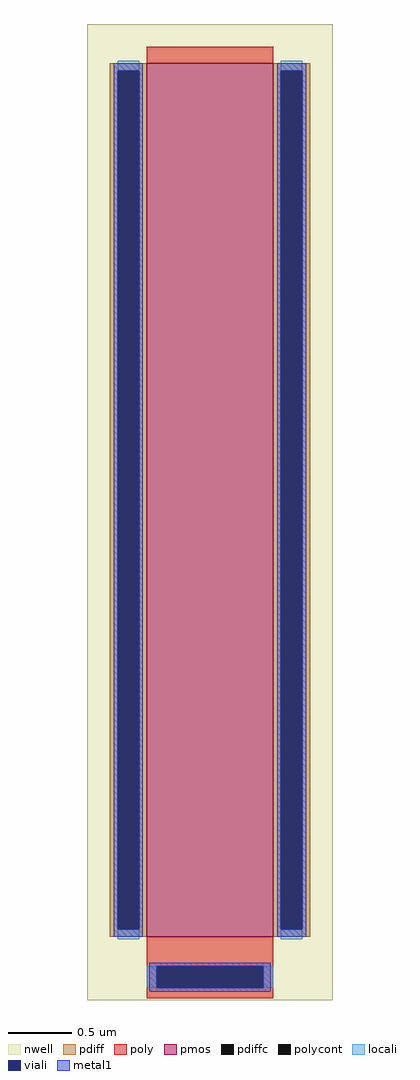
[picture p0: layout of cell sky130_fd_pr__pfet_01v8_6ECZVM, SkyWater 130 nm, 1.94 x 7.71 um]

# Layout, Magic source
magic
tech sky130A
magscale 1 2
<< nwell >>
rect -194 -754 194 788
<< pmos >>
rect -100 -654 100 726
<< pdiff >>
rect -158 714 -100 726
rect -158 -642 -146 714
rect -112 -642 -100 714
rect -158 -654 -100 -642
rect 100 714 158 726
rect 100 -642 112 714
rect 146 -642 158 714
rect 100 -654 158 -642
<< pdiffc >>
rect -146 -642 -112 714
rect 112 -642 146 714
<< poly >>
rect -100 726 100 752
rect -100 -701 100 -654
rect -100 -735 -84 -701
rect 84 -735 100 -701
rect -100 -751 100 -735
<< polycont >>
rect -84 -735 84 -701
<< locali >>
rect -146 714 -112 730
rect -146 -658 -112 -642
rect 112 714 146 730
rect 112 -658 146 -642
rect -100 -735 -84 -701
rect 84 -735 100 -701
<< viali >>
rect -146 -642 -112 714
rect 112 -642 146 714
rect -84 -735 84 -701
<< metal1 >>
rect -152 714 -106 726
rect -152 -642 -146 714
rect -112 -642 -106 714
rect -152 -654 -106 -642
rect 106 714 152 726
rect 106 -642 112 714
rect 146 -642 152 714
rect 106 -654 152 -642
rect -96 -701 96 -695
rect -96 -735 -84 -701
rect 84 -735 96 -701
rect -96 -741 96 -735
<< properties >>
string gencell sky130_fd_pr__pfet_01v8
string library sky130
string parameters w 6.9 l 1.0 m 1 nf 1 diffcov 100 polycov 100 guard 0 glc 1 grc 1 gtc 1 gbc 1 tbcov 100 rlcov 100 topc 0 botc 1 poverlap 0 doverlap 1 lmin 0.15 wmin 0.42 compatible {sky130_fd_pr__pfet_01v8  sky130_fd_pr__pfet_01v8_lvt sky130_fd_pr__pfet_01v8_hvt  sky130_fd_pr__pfet_g5v0d10v5} full_metal 1 viasrc 100 viadrn 100 viagate 100 viagb 0 viagr 0 viagl 0 viagt 0
<< end >>
